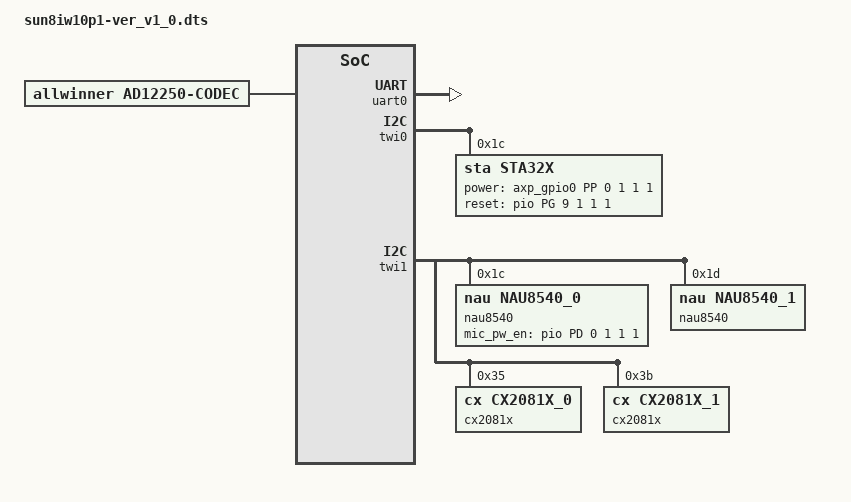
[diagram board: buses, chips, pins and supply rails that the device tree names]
/*
 * Allwinner Technology CO., Ltd. sun8iw10p1 ver_v1_0 board.
 *
 * pro board support.
 */

/dts-v1/;

#include "sun8iw10p1.dtsi"

/{

	soc@01c00000 {
		uart0: uart@01c28000 {
			status = "okay";
		};

		twi0: twi@0x01c2ac00 {
			status = "okay";
			sta32x@1c{
				compatible = "sta,sta32x";
				reg = <0x1c>;
				power_gpio = <&axp_gpio0 PP 0 1 1 1 1>;
				gpio-reset = <&pio PG 9 1 1 1 1>;
            };
		};

		twi1: twi@0x01c2b000 {
			status = "okay";
			nau8540@1c{
            	compatible = "nau,nau8540_0";
            	reg = <0x1c>;
				mic_pw_en = <&pio PD 0 1 1 1 1>;
			};
			nau8540@1d{
				compatible = "nau,nau8540_1";
				reg = <0x1d>;
 			};
			cx2081x@35{
				compatible = "cx,cx2081x_0";
				reg = <0x35>;
			};
			cx2081x@3b{
				compatible = "cx,cx2081x_1";
				reg = <0x3b>;
				voltage_enable = "audio-33";
			};
		};
		
		ad12250:ad12250@0{
			compatible = "allwinner,ad12250-codec";
			status = "okay";
		};
		
		snddaudio1:sound@2{
			sunxi,ad12250-codec = <&ad12250>;
			status = "okay";
		};
		
	};
};
